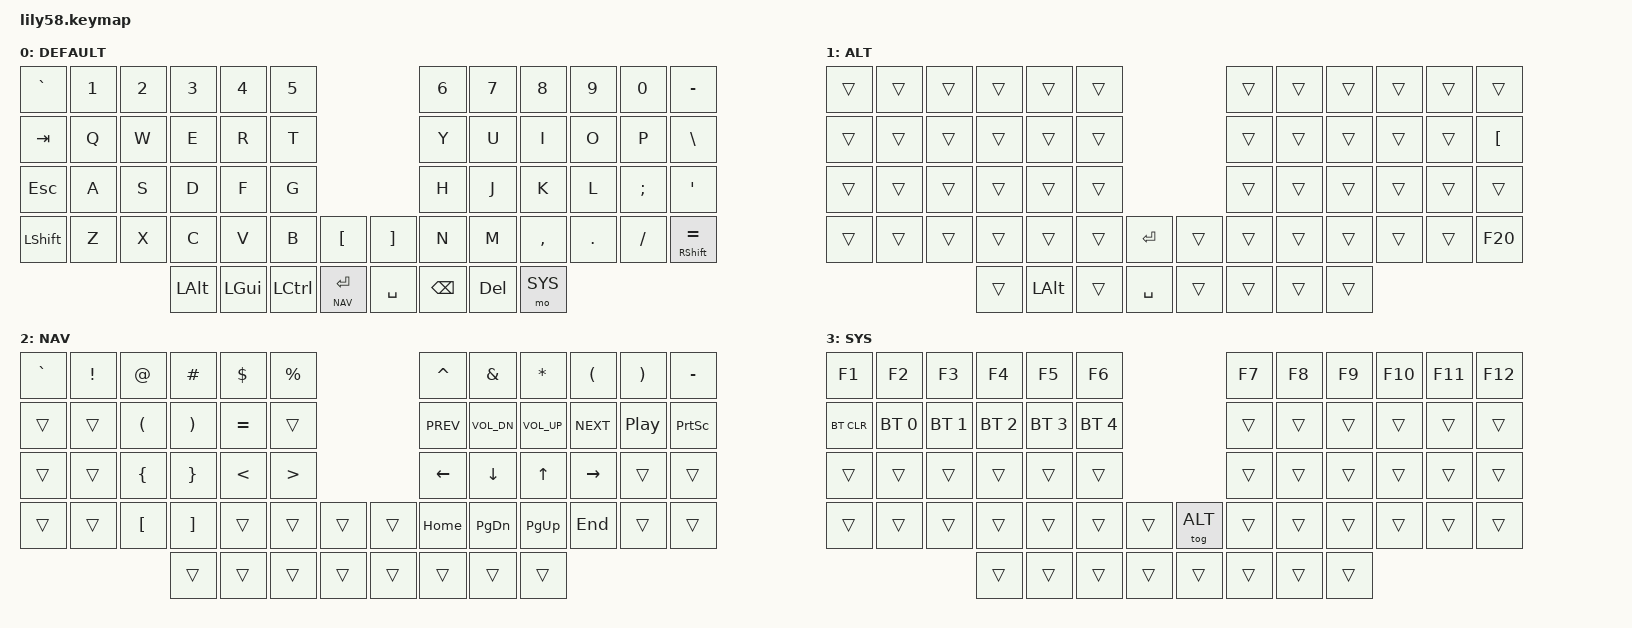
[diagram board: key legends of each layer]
/*
* Copyright (c) 2020 The ZMK Contributors
*
* SPDX-License-Identifier: MIT
*/

#include <behaviors.dtsi>
#include <dt-bindings/zmk/keys.h>
#include <dt-bindings/zmk/bt.h>

#define DEFAULT 0
#define ALT     1
#define NAV     2
#define SYS     3

/ {
  keymap {
    compatible = "zmk,keymap";

    DEFAULT {
      display-name = "DEFAULT";
      bindings = <
        &kp GRAVE  &kp N1  &kp N2  &kp N3    &kp N4    &kp N5                             &kp N6    &kp N7   &kp N8     &kp N9   &kp N0     &kp MINUS
        &kp TAB    &kp Q   &kp W   &kp E     &kp R     &kp T                              &kp Y     &kp U    &kp I      &kp O    &kp P      &kp BACKSLASH
        &kp ESC    &kp A   &kp S   &kp D     &kp F     &kp G                              &kp H     &kp J    &kp K      &kp L    &kp SEMI   &kp SQT
        &kp LSHFT  &kp Z   &kp X   &kp C     &kp V     &kp B      &kp LBKT     &kp RBKT   &kp N     &kp M    &kp COMMA  &kp DOT  &kp SLASH  &mt RSHFT EQUAL
                                   &kp LALT  &kp LGUI  &kp LCTRL  &lt NAV RET  &kp SPACE  &kp BSPC  &kp DEL  &mo SYS
      >;
    };

    ALT {
      display-name = "ALT";
      bindings = <
        &trans  &trans  &trans  &trans  &trans    &trans                     &trans  &trans  &trans  &trans  &trans  &trans
        &trans  &trans  &trans  &trans  &trans    &trans                     &trans  &trans  &trans  &trans  &trans  &kp LBKT
        &trans  &trans  &trans  &trans  &trans    &trans                     &trans  &trans  &trans  &trans  &trans  &trans
        &trans  &trans  &trans  &trans  &trans    &trans  &kp RET    &trans  &trans  &trans  &trans  &trans  &trans  &kp F20
                                &trans  &kp LALT  &trans  &kp SPACE  &trans  &trans  &trans  &trans
      >;
    };

    NAV {
      display-name = "NAV";
      bindings = <
        &kp GRAVE  &kp EXCL  &kp AT    &kp HASH  &kp DLLR   &kp PRCNT                  &kp CARET   &kp AMPS     &kp ASTRK     &kp LPAR     &kp RPAR  &kp MINUS
        &trans     &trans    &kp LPAR  &kp RPAR  &kp EQUAL  &trans                     &kp C_PREV  &kp C_VOL_DN &kp C_VOL_UP  &kp C_NEXT   &kp C_PP  &kp PSCRN
        &trans     &trans    &kp LBRC  &kp RBRC  &kp LT     &kp GT                     &kp LEFT    &kp DOWN     &kp UP        &kp RIGHT    &trans    &trans
        &trans     &trans    &kp LBKT  &kp RBKT  &trans     &trans     &trans  &trans  &kp HOME    &kp PG_DN    &kp PG_UP     &kp END      &trans    &trans
                                       &trans    &trans     &trans     &trans  &trans  &trans      &trans       &trans
      >;
    };

    SYS {
      display-name = "SYS";
      bindings = <
        &kp F1      &kp F2        &kp F3        &kp F4        &kp F5       &kp F6                          &kp F7  &kp F8  &kp F9  &kp F10  &kp F11  &kp F12
        &bt BT_CLR  &bt BT_SEL 0  &bt BT_SEL 1  &bt BT_SEL 2  &bt BT_SEL 3 &bt BT_SEL 4                    &trans  &trans  &trans  &trans   &trans   &trans
        &trans      &trans        &trans        &trans        &trans       &trans                          &trans  &trans  &trans  &trans   &trans   &trans
        &trans      &trans        &trans        &trans        &trans       &trans        &trans  &tog ALT  &trans  &trans  &trans  &trans   &trans   &trans
                                                &trans        &trans       &trans        &trans  &trans    &trans  &trans  &trans
      >;
    };
  };
};
